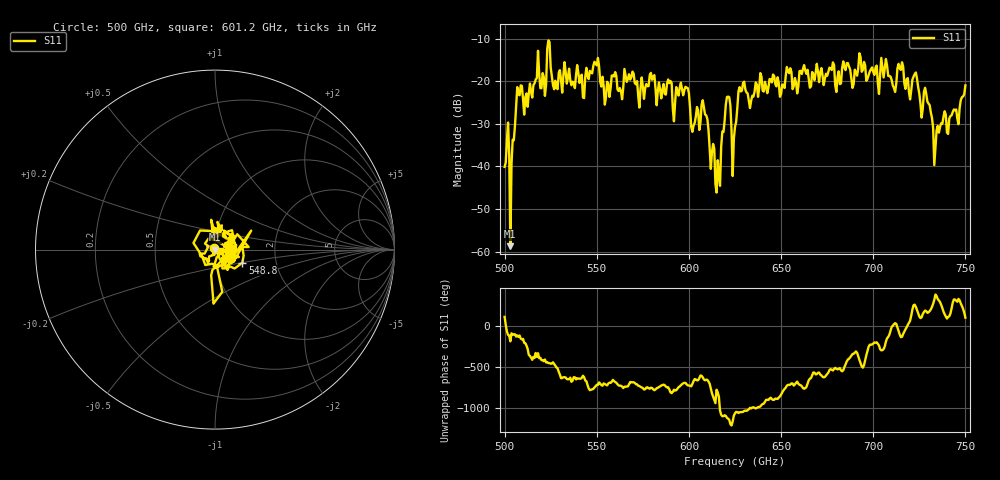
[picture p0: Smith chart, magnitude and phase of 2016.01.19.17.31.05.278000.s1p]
!Created with skrf (http://scikit-rf.org).
# GHz S RI R 50.0
!freq ReS11 ImS11
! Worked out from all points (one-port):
!   401 points, 500 GHz to 750 GHz, reference 50 ohm
!   lowest |S11| = -58.7 dB at 503.1 GHz (marker M1), VSWR 1.00, Z = 49.9 + j0.0169 ohm
!   |S11| at or under -10 dB: start of sweep to end of sweep
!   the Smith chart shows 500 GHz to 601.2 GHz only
!   S11 on the Smith chart (normalised r, x): 500 GHz: 0.99, +0.02; 548.8 GHz: 1.34, -0.20; 601.2 GHz: 1.06, -0.01
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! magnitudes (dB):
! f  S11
! 500 GHz  -40.1
! 503.1 GHz  -58.7
! 504.4 GHz  -33.7
! 508.1 GHz  -23.3
! 521.2 GHz  -19.0
! 524.4 GHz  -10.8
! 527.5 GHz  -19.9
! 531.2 GHz  -22.7
! 548.8 GHz  -15.4
! 562.5 GHz  -21.6
! 568.8 GHz  -19.1
! 593.8 GHz  -22.2
! 598.8 GHz  -21.5
! 601.2 GHz  -30.7
! 608.1 GHz  -26.1
! 615.6 GHz  -38.5
! 620.6 GHz  -23.7
! 625 GHz  -30.7
! 628.8 GHz  -22.2
! 656.2 GHz  -21.8
! 687.5 GHz  -17.2
! 705.6 GHz  -19.1
! 711.2 GHz  -21.6
! 715 GHz  -17.3
! 718.8 GHz  -19.3
! 728.8 GHz  -22.9
! 734.4 GHz  -31.5
! 750 GHz  -21.0
